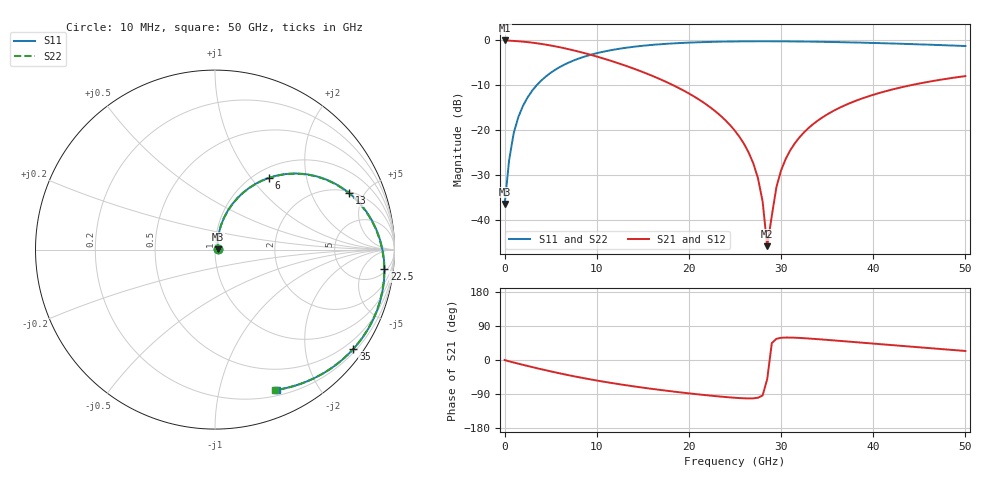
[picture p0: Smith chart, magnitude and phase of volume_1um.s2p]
#  GHZ S DB R 50.0
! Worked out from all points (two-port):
!   102 points, 10 MHz to 50 GHz, reference 50 ohm
!   highest |S21| = -0.13 dB at 10 MHz (marker M1); lowest = -45.9 dB at 28.5 GHz (marker M2)
!   |S21| within 3 dB of the highest: start of sweep to 9.011 GHz
!   lowest |S11| = -36.5 dB at 10 MHz (marker M3), VSWR 1.03, Z = 51.5 + j0.0906 ohm
!   |S11| at or under -10 dB: start of sweep to 3.531 GHz
!   |S22| runs from -36.5 to -0.3 dB; largest |S21 - S12| = 1.5e-12
!   S11 on the Smith chart (normalised r, x): 10 MHz: 1.03, +0.00; 6 GHz: 1.15, +1.23; 13 GHz: 2.11, +3.89; 22.5 GHz: 7, -15; 35 GHz: 0.28, -3.09; 50 GHz: 0.26, -1.50
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0.01  -36.52 3.4  -0.13 -0.1  -0.13 -0.1  -36.52 3.4
0.5  -26.74 71.1  -0.17 -3.5  -0.17 -3.5  -26.74 71.0
1  -20.71 77.0  -0.24 -6.6  -0.24 -6.6  -20.71 76.9
1.5  -17.15 76.3  -0.31 -9.7  -0.31 -9.7  -17.16 76.2
3.5  -10.06 66.4  -0.75 -21.6  -0.75 -21.6  -10.07 66.4
6  -6.04 53.2  -1.64 -35.2  -1.64 -35.2  -6.05 53.1
8.5  -3.84 41.1  -2.85 -47.5  -2.85 -47.5  -3.85 41.0
13  -1.81 22.7  -5.65 -65.9  -5.65 -65.9  -1.82 22.6
17  -0.96 9.2  -8.85 -79.3  -8.85 -79.3  -0.96 9.0
22.5  -0.44 -6.5  -15.28 -94.4  -15.28 -94.4  -0.45 -6.8
25.5  -0.34 -14.1  -21.59 -100.5  -21.59 -100.5  -0.35 -14.4
26.5  -0.32 -16.5  -25.10 -101.4  -25.10 -101.4  -0.33 -16.9
27.5  -0.32 -18.9  -30.78 -99.6  -30.78 -99.6  -0.33 -19.3
28  -0.31 -20.1  -35.89 -93.6  -35.89 -93.6  -0.33 -20.5
28.5  -0.32 -21.3  -45.87 -50.4  -45.87 -50.4  -0.33 -21.6
29.5  -0.32 -23.6  -32.72 55.9  -32.72 55.9  -0.33 -24.0
30  -0.33 -24.7  -29.05 58.6  -29.05 58.6  -0.34 -25.1
31.5  -0.35 -28.1  -22.98 58.9  -22.98 58.9  -0.36 -28.5
33.5  -0.40 -32.4  -18.70 55.8  -18.70 55.8  -0.42 -32.9
35  -0.45 -35.7  -16.58 53.1  -16.58 53.1  -0.47 -36.2
42  -0.80 -50.1  -11.07 39.4  -11.07 39.4  -0.82 -50.8
50  -1.37 -66.1  -8.06 23.8  -8.06 23.8  -1.40 -67.0
